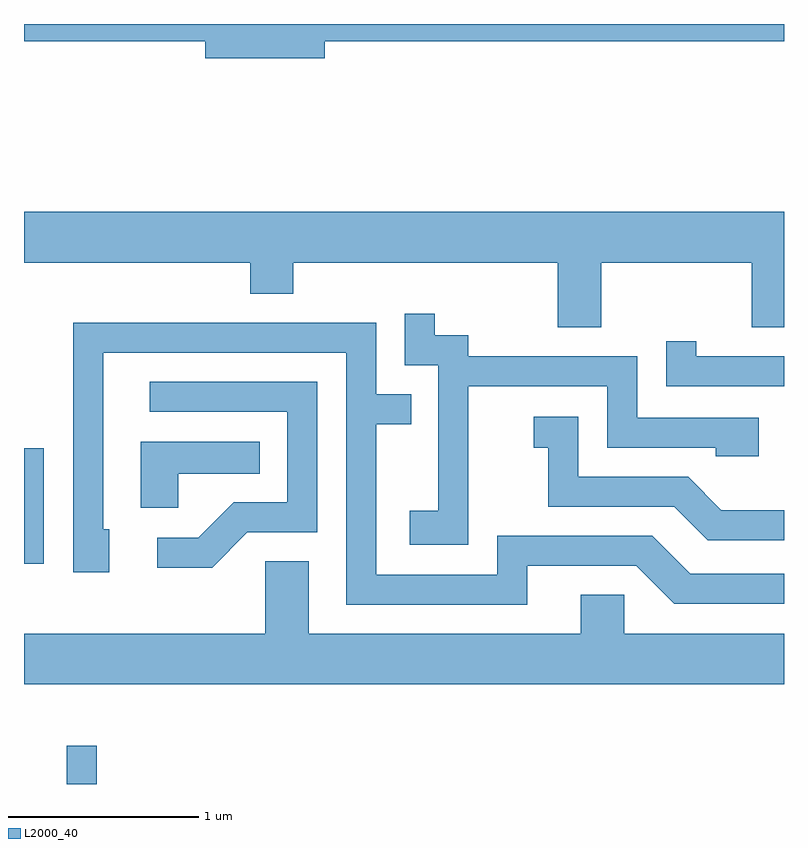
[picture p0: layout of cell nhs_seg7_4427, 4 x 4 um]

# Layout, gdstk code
import gdstk
lib = gdstk.Library(unit=1e-6, precision=1e-09)
def R(c, l, rs):  # rectangles x0, y0, x1, y1
    for r in rs: c.add(gdstk.rectangle(r[:2], r[2:], *l))
def P(c, l, *ps):  # polygons
    for p in ps: c.add(gdstk.Polygon(p, *l))
L2000_40 = (2000, 40)

nhs_seg7_4427 = lib.new_cell('nhs_seg7_4427')
R(nhs_seg7_4427, L2000_40, [(321.836,1698.252,321.994,1698.453), (321.611,1699.411,321.714,1700.018)])
P(nhs_seg7_4427, L2000_40, [(323.194,1702.161),(325.611,1702.161),(325.611,1702.252),(321.611,1702.252),(321.611,1702.161),(322.566,1702.161),(322.566,1702.071),(323.194,1702.071)],
  [(324.649,1700.996),(325.441,1700.996),(325.441,1700.656),(325.611,1700.656),(325.611,1701.264),(321.611,1701.264),(321.611,1700.996),(322.801,1700.996),(322.801,1700.831),(323.029,1700.831),(323.029,1700.996),(324.421,1700.996),(324.421,1700.656),(324.649,1700.656)],
  [(323.949,1700.346),(324.681,1700.346),(324.681,1700.021),(325.251,1700.021),(325.251,1699.976),(325.479,1699.976),(325.479,1700.179),(324.839,1700.179),(324.839,1700.504),(323.949,1700.504),(323.949,1700.614),(323.774,1700.614),(323.774,1700.728),(323.616,1700.728),(323.616,1700.456),(323.791,1700.456),(323.791,1699.689),(323.641,1699.689),(323.641,1699.511),(323.949,1699.511)],
  [(324.259,1699.401),(324.834,1699.401),(325.034,1699.201),(325.611,1699.201),(325.611,1699.359),(325.117,1699.359),(324.917,1699.559),(324.101,1699.559),(324.101,1699.354),(323.464,1699.354),(323.464,1700.146),(323.648,1700.146),(323.648,1700.304),(323.464,1700.304),(323.464,1700.679),(321.871,1700.679),(321.871,1699.366),(322.059,1699.366),(322.059,1699.594),(322.029,1699.594),(322.029,1700.521),(323.306,1700.521),(323.306,1699.196),(324.259,1699.196)],
  [(325.611,1700.504),(325.149,1700.504),(325.149,1700.583),(324.991,1700.583),(324.991,1700.346),(325.611,1700.346)],
  [(322.787,1699.576),(323.154,1699.576),(323.154,1700.369),(322.273,1700.369),(322.273,1700.211),(322.996,1700.211),(322.996,1699.734),(322.714,1699.734),(322.529,1699.549),(322.313,1699.549),(322.313,1699.391),(322.602,1699.391)],
  [(325.611,1699.694),(325.282,1699.694),(325.107,1699.869),(324.529,1699.869),(324.529,1700.184),(324.293,1700.184),(324.293,1700.021),(324.371,1700.021),(324.371,1699.711),(325.034,1699.711),(325.209,1699.536),(325.611,1699.536)],
  [(322.424,1699.886),(322.853,1699.886),(322.853,1700.054),(322.226,1700.054),(322.226,1699.706),(322.424,1699.706)],
  [(325.611,1699.044),(324.769,1699.044),(324.769,1699.249),(324.541,1699.249),(324.541,1699.044),(323.109,1699.044),(323.109,1699.424),(322.881,1699.424),(322.881,1699.044),(321.611,1699.044),(321.611,1698.776),(325.611,1698.776)])

lib.write_gds('nhs_seg7_4427.gds')
